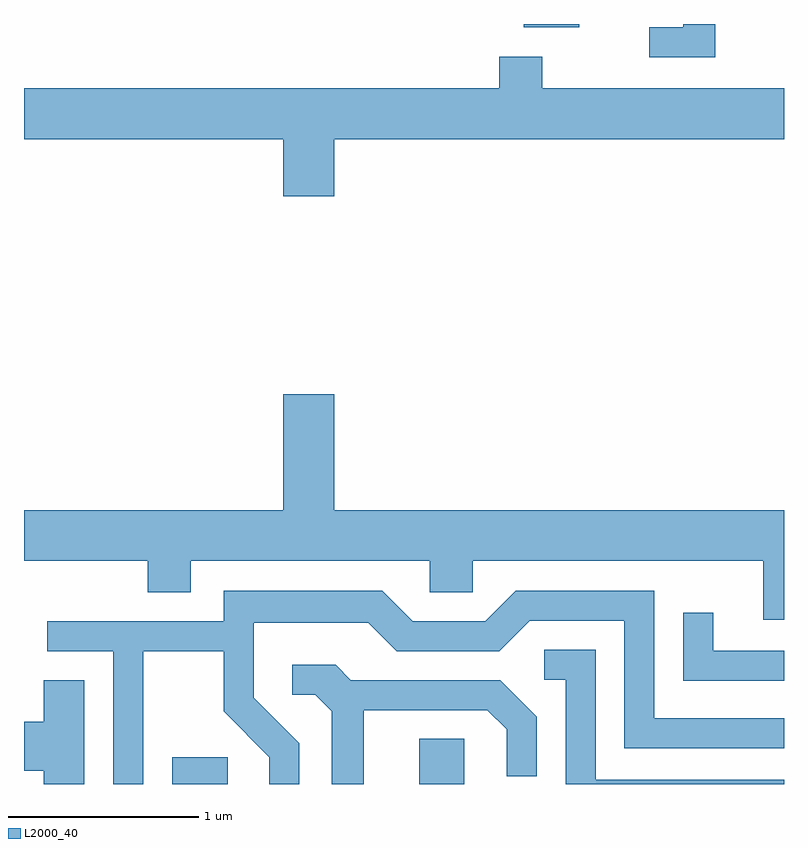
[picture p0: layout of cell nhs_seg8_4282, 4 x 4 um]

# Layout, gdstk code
import gdstk
lib = gdstk.Library(unit=1e-6, precision=1e-09)
def R(c, l, rs):  # rectangles x0, y0, x1, y1
    for r in rs: c.add(gdstk.rectangle(r[:2], r[2:], *l))
def P(c, l, *ps):  # polygons
    for p in ps: c.add(gdstk.Polygon(p, *l))
L2000_40 = (2000, 40)

nhs_seg8_4282 = lib.new_cell('nhs_seg8_4282')
R(nhs_seg8_4282, L2000_40, [(314.391,1846.342,314.684,1846.484), (315.691,1846.342,315.929,1846.579), (316.241,1850.326,316.534,1850.342)])
P(nhs_seg8_4282, L2000_40, [(317.249,1850.342),(317.081,1850.342),(317.081,1850.324),(316.903,1850.324),(316.903,1850.166),(317.249,1850.166)],
  [(315.244,1849.736),(317.611,1849.736),(317.611,1850.004),(316.339,1850.004),(316.339,1850.169),(316.111,1850.169),(316.111,1850.004),(313.611,1850.004),(313.611,1849.736),(314.976,1849.736),(314.976,1849.436),(315.244,1849.436)],
  [(317.611,1847.784),(315.244,1847.784),(315.244,1848.394),(314.976,1848.394),(314.976,1847.784),(313.611,1847.784),(313.611,1847.516),(314.261,1847.516),(314.261,1847.351),(314.489,1847.351),(314.489,1847.516),(315.746,1847.516),(315.746,1847.351),(315.974,1847.351),(315.974,1847.516),(317.501,1847.516),(317.501,1847.206),(317.611,1847.206)],
  [(314.239,1847.041),(314.661,1847.041),(314.661,1846.724),(314.901,1846.484),(314.901,1846.342),(315.059,1846.342),(315.059,1846.557),(314.819,1846.797),(314.819,1847.191),(315.424,1847.191),(315.574,1847.041),(316.112,1847.041),(316.272,1847.201),(316.771,1847.201),(316.771,1846.531),(317.611,1846.531),(317.611,1846.689),(316.929,1846.689),(316.929,1847.359),(316.199,1847.359),(316.039,1847.199),(315.657,1847.199),(315.497,1847.359),(314.661,1847.359),(314.661,1847.199),(313.733,1847.199),(313.733,1847.041),(314.081,1847.041),(314.081,1846.342),(314.239,1846.342)],
  [(317.611,1847.044),(317.239,1847.044),(317.239,1847.243),(317.081,1847.243),(317.081,1846.886),(317.611,1846.886)],
  [(317.611,1846.364),(316.619,1846.364),(316.619,1847.049),(316.348,1847.049),(316.348,1846.891),(316.461,1846.891),(316.461,1846.342),(317.611,1846.342)],
  [(315.399,1846.731),(316.049,1846.731),(316.151,1846.629),(316.151,1846.383),(316.309,1846.383),(316.309,1846.697),(316.117,1846.889),(315.332,1846.889),(315.252,1846.969),(315.023,1846.969),(315.023,1846.811),(315.144,1846.811),(315.231,1846.724),(315.231,1846.342),(315.399,1846.342)],
  [(313.929,1846.889),(313.716,1846.889),(313.716,1846.669),(313.611,1846.669),(313.611,1846.411),(313.716,1846.411),(313.716,1846.342),(313.929,1846.342)])

lib.write_gds('nhs_seg8_4282.gds')
